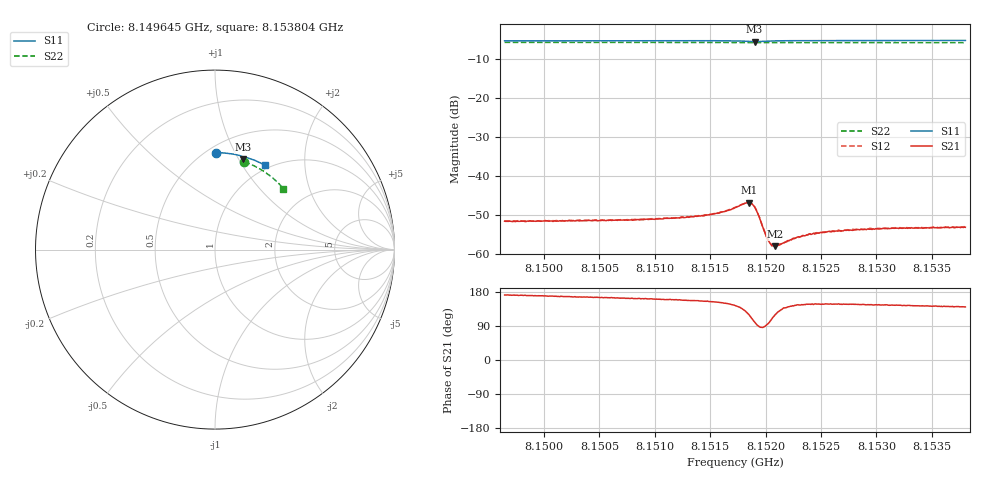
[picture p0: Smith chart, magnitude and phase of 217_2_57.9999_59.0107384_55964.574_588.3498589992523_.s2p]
#  HZ  S  RI  R  50.00
! Rohde & Schwarz Vector Network Analyzer
! Rohde-Schwarz,ZNB20-2Port,1311601062101988,3.16
! Created: UTC 3/21/2024, 1:00:00 AM
! freq[Hz]  re:S11  im:S11  re:S21  im:S21  re:S12  im:S12  re:S22  im:S22
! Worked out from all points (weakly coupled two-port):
!   401 points, 8.149645 GHz to 8.153804 GHz, reference 50 ohm
!   highest |S21| = -46.81 dB at 8.151849 GHz (marker M1); lowest = -57.9 dB at 8.152088 GHz (marker M2)
!   lowest |S11| = -5.6 dB at 8.151901 GHz (marker M3), VSWR 3.23, Z = 37.3 + j52.1 ohm
!   |S11| at or under -10 dB: nowhere
!   |S22| runs from -5.8 to -5.7 dB; largest |S21 - S12| = 0.00011
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8.149645e9  0.00552 0.5396  -0.00262 0.00039  -0.00262 0.000447  0.1639 0.4892
8.1503415e9  0.0544 0.538  -0.0026 0.000645  -0.00264 0.00069  0.2057 0.4723
8.150747e9  0.0827 0.535  -0.00261 0.000813  -0.00263 0.000882  0.2293 0.4608
8.1510381e9  0.1031 0.5317  -0.00267 0.000958  -0.00269 0.000991  0.2459 0.4517
8.1514331e9  0.1312 0.5258  -0.00283 0.00129  -0.0028 0.00135  0.2676 0.4386
8.1515995e9  0.1437 0.5219  -0.00304 0.00166  -0.00304 0.0017  0.2767 0.4327
8.1517242e9  0.1534 0.5171  -0.00318 0.00232  -0.00318 0.0024  0.2832 0.4281
8.1518074e9  0.159 0.5106  -0.00293 0.00334  -0.0029 0.00338  0.2876 0.425
8.151849e9  0.1592 0.5062  -0.00229 0.00395  -0.00222 0.004  0.2894 0.4232
8.1518802e9  0.1572 0.504  -0.00137 0.00414  -0.00133 0.00422  0.2911 0.4221
8.151901e9  0.1552 0.5039  -0.000708 0.00397  -0.000661 0.00401  0.292 0.4215
8.1519322e9  0.1534 0.506  -3.07e-05 0.00327  5.36e-05 0.00325  0.2936 0.4204
8.1519946e9  0.1559 0.5114  4.09e-05 0.00189  9.21e-05 0.0019  0.2966 0.4183
8.1520257e9  0.1588 0.5129  -0.000175 0.00149  -0.000159 0.00149  0.2983 0.4171
8.1520569e9  0.1617 0.5136  -0.000405 0.00121  -0.000414 0.00127  0.3001 0.4159
8.1520881e9  0.1646 0.5139  -0.000633 0.0011  -0.000627 0.00114  0.3018 0.4148
8.1521089e9  0.1666 0.514  -0.000761 0.00104  -0.00075 0.00107  0.3028 0.414
8.1522753e9  0.1802 0.5117  -0.00132 0.000948  -0.00132 0.000947  0.3113 0.4073
8.1524208e9  0.1908 0.5086  -0.00154 0.00096  -0.00153 0.00101  0.3187 0.4016
8.1526391e9  0.2058 0.5034  -0.00167 0.00106  -0.00167 0.0011  0.3293 0.3925
8.1531174e9  0.2369 0.4906  -0.00173 0.00124  -0.00179 0.00127  0.3515 0.3717
8.1538035e9  0.2796 0.4688  -0.00169 0.00142  -0.0017 0.00144  0.3814 0.3398
